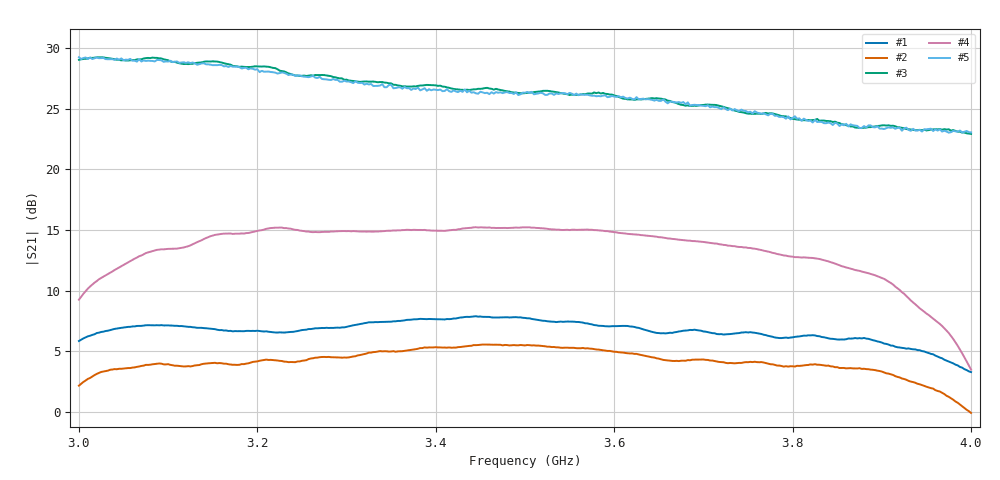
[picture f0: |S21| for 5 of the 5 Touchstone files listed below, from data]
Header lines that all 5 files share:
!Agilent Technologies,E8358A,US40260201,A.04.06
!Agilent E8358A: A.04.06
!Correction: S11(Full 2 Port SOLT,1,2) S21(Full 2 Port SOLT,1,2) S12(Full 2 Port SOLT,1,2) S22(Full 2 Port SOLT,1,2)
!S2P File: Measurements: S11, S21, S12, S22:
# Hz S  MA  R 50
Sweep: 3 GHz to 4 GHz
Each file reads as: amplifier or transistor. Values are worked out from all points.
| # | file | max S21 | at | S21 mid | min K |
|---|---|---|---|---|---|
| 1 | mr_radar_lofilt_amp.s2p | 7.9 dB | 3.445 GHz | 7.7 dB at 3.5 GHz | 2.05 |
| 2 | mr_radar_lofiltsplit_termin.s2p | 5.5 dB | 3.453 GHz | 5.5 dB at 3.5 GHz | 3.63 |
| 3 | mr_radar_rxpath.s2p | 29.2 dB | 3.02 GHz | 26.3 dB at 3.5 GHz | 0.94 |
| 4 | mr_radar_vco_to_rf_termsplit.s2p | 15.2 dB | 3.445 GHz | 15.2 dB at 3.5 GHz | 5.91 |
| 5 | mr_rxpath_recal.s2p | 29.2 dB | 3 GHz | 26.3 dB at 3.5 GHz | 1.15 |
